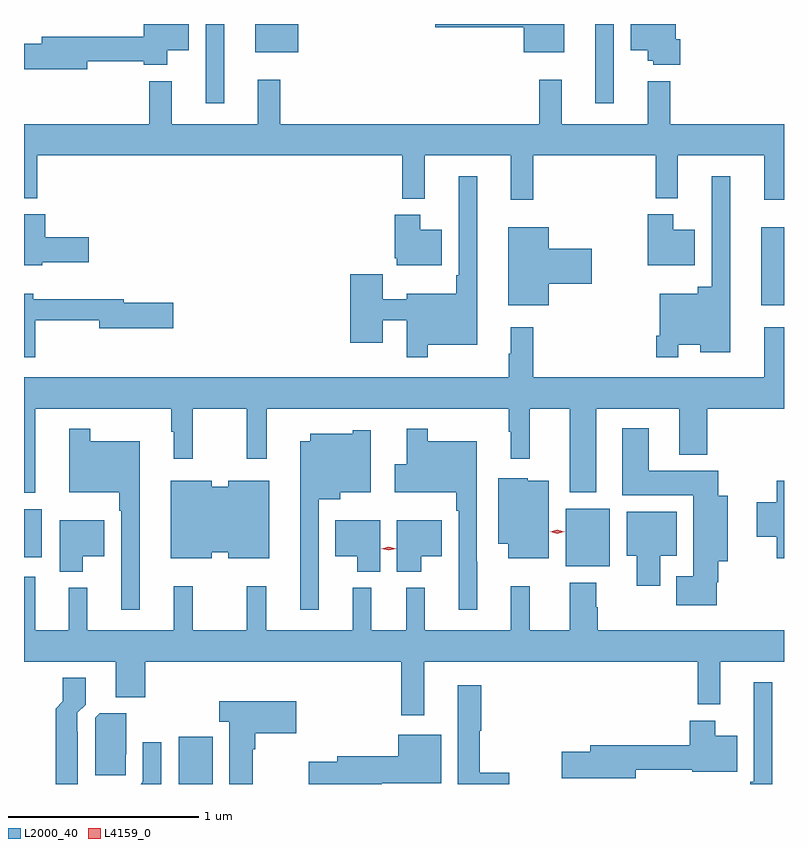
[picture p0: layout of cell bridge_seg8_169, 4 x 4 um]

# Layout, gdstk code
import gdstk
lib = gdstk.Library(unit=1e-6, precision=1e-09)
def R(c, l, rs):  # rectangles x0, y0, x1, y1
    for r in rs: c.add(gdstk.rectangle(r[:2], r[2:], *l))
def P(c, l, *ps):  # polygons
    for p in ps: c.add(gdstk.Polygon(p, *l))
L2000_40 = (2000, 40)
L4159_0 = (4159, 0)

bridge_seg8_169 = lib.new_cell('bridge_seg8_169')
R(bridge_seg8_169, L2000_40, [(544.493,1090.548,544.672,1090.798), (546.53,1091.693,546.763,1091.998), (543.679,1091.741,543.772,1091.995), (547.559,1093.067,547.679,1093.477), (544.635,1094.13,544.732,1094.548), (546.686,1094.13,546.783,1094.548), (544.895,1094.399,545.122,1094.548)])
P(bridge_seg8_169, L2000_40, [(546.523,1094.548),(545.844,1094.548),(545.844,1094.531),(546.308,1094.531),(546.308,1094.399),(546.523,1094.399)],
  [(544.012,1094.352),(544.31,1094.352),(544.31,1094.333),(544.432,1094.333),(544.432,1094.411),(544.546,1094.411),(544.546,1094.548),(544.31,1094.548),(544.31,1094.48),(543.773,1094.48),(543.773,1094.444),(543.679,1094.444),(543.679,1094.309),(544.012,1094.309)],
  [(547.133,1094.469),(547.108,1094.469),(547.108,1094.548),(546.872,1094.548),(546.872,1094.411),(546.962,1094.411),(546.962,1094.355),(546.99,1094.355),(546.99,1094.333),(547.133,1094.333)],
  [(546.359,1093.856),(547.003,1093.856),(547.003,1093.631),(547.121,1093.631),(547.121,1093.856),(547.574,1093.856),(547.574,1093.623),(547.679,1093.623),(547.679,1094.02),(547.079,1094.02),(547.079,1094.248),(546.962,1094.248),(546.962,1094.02),(546.509,1094.02),(546.509,1094.254),(546.391,1094.254),(546.391,1094.02),(545.027,1094.02),(545.027,1094.254),(544.91,1094.254),(544.91,1094.02),(544.457,1094.02),(544.457,1094.248),(544.339,1094.248),(544.339,1094.02),(543.679,1094.02),(543.679,1093.631),(543.749,1093.631),(543.749,1093.856),(545.671,1093.856),(545.671,1093.628),(545.789,1093.628),(545.789,1093.856),(546.242,1093.856),(546.242,1093.623),(546.359,1093.623)],
  [(547.122,1092.86),(547.238,1092.86),(547.238,1092.821),(547.396,1092.821),(547.396,1093.747),(547.299,1093.747),(547.299,1093.165),(547.226,1093.165),(547.226,1093.129),(547.026,1093.129),(547.026,1092.907),(547.006,1092.907),(547.006,1092.795),(547.122,1092.795)],
  [(545.803,1092.86),(546.064,1092.86),(546.064,1093.747),(545.967,1093.747),(545.967,1093.225),(545.955,1093.225),(545.955,1093.129),(545.693,1093.129),(545.693,1093.099),(545.566,1093.099),(545.566,1093.231),(545.396,1093.231),(545.396,1092.87),(545.566,1092.87),(545.566,1092.99),(545.694,1092.99),(545.694,1092.795),(545.803,1092.795)],
  [(547.21,1093.465),(547.096,1093.465),(547.096,1093.546),(546.962,1093.546),(546.962,1093.277),(547.21,1093.277)],
  [(543.774,1093.295),(544.021,1093.295),(544.021,1093.425),(543.791,1093.425),(543.791,1093.546),(543.679,1093.546),(543.679,1093.277),(543.774,1093.277)],
  [(545.878,1093.465),(545.764,1093.465),(545.764,1093.543),(545.63,1093.543),(545.63,1093.314),(545.642,1093.314),(545.642,1093.277),(545.878,1093.277)],
  [(546.442,1093.181),(546.667,1093.181),(546.667,1093.364),(546.442,1093.364),(546.442,1093.477),(546.227,1093.477),(546.227,1093.067),(546.442,1093.067)],
  [(543.739,1092.99),(544.076,1092.99),(544.076,1092.947),(544.465,1092.947),(544.465,1093.082),(544.204,1093.082),(544.204,1093.1),(543.727,1093.1),(543.727,1093.129),(543.679,1093.129),(543.679,1092.795),(543.739,1092.795)],
  [(543.739,1092.524),(544.455,1092.524),(544.455,1092.401),(544.466,1092.401),(544.466,1092.261),(544.568,1092.261),(544.568,1092.524),(544.852,1092.524),(544.852,1092.261),(544.956,1092.261),(544.956,1092.524),(546.231,1092.524),(546.231,1092.401),(546.242,1092.401),(546.242,1092.261),(546.341,1092.261),(546.341,1092.524),(546.551,1092.524),(546.551,1092.083),(546.691,1092.083),(546.691,1092.524),(547.127,1092.524),(547.127,1092.281),(547.275,1092.281),(547.275,1092.524),(547.679,1092.524),(547.679,1092.952),(547.574,1092.952),(547.574,1092.688),(546.359,1092.688),(546.359,1092.952),(546.242,1092.952),(546.242,1092.812),(546.231,1092.812),(546.231,1092.688),(543.679,1092.688),(543.679,1092.08),(543.739,1092.08)],
  [(547.324,1091.609),(547.332,1091.609),(547.332,1091.72),(547.384,1091.72),(547.384,1092.064),(547.332,1092.064),(547.332,1092.196),(546.967,1092.196),(546.967,1092.421),(546.827,1092.421),(546.827,1092.068),(547.202,1092.068),(547.202,1091.641),(547.112,1091.641),(547.112,1091.489),(547.324,1091.489)],
  [(544.288,1092.352),(544.027,1092.352),(544.027,1092.418),(543.918,1092.418),(543.918,1092.083),(544.179,1092.083),(544.179,1091.987),(544.191,1091.987),(544.191,1091.466),(544.288,1091.466)],
  [(546.064,1091.717),(546.063,1091.717),(546.063,1092.352),(545.803,1092.352),(545.803,1092.418),(545.693,1092.418),(545.693,1092.231),(545.63,1092.231),(545.63,1092.083),(545.955,1092.083),(545.955,1091.987),(545.967,1091.987),(545.967,1091.466),(546.064,1091.466)],
  [(545.229,1092.047),(545.344,1092.047),(545.344,1092.083),(545.503,1092.083),(545.503,1092.409),(545.409,1092.409),(545.409,1092.391),(545.186,1092.391),(545.186,1092.352),(545.132,1092.352),(545.132,1091.466),(545.229,1091.466)],
  [(546.442,1092.145),(546.33,1092.145),(546.33,1092.157),(546.176,1092.157),(546.176,1091.813),(546.227,1091.813),(546.227,1091.735),(546.442,1091.735)],
  [(547.679,1092.145),(547.64,1092.145),(547.64,1092.032),(547.535,1092.032),(547.535,1091.849),(547.64,1091.849),(547.64,1091.735),(547.679,1091.735)],
  [(544.666,1091.768),(544.754,1091.768),(544.754,1091.735),(544.969,1091.735),(544.969,1092.145),(544.754,1092.145),(544.754,1092.112),(544.666,1092.112),(544.666,1092.145),(544.451,1092.145),(544.451,1091.735),(544.666,1091.735)],
  [(547.027,1091.75),(547.114,1091.75),(547.114,1091.98),(546.851,1091.98),(546.851,1091.75),(546.905,1091.75),(546.905,1091.592),(547.027,1091.592)],
  [(543.988,1091.747),(544.102,1091.747),(544.102,1091.935),(543.866,1091.935),(543.866,1091.666),(543.988,1091.666)],
  [(545.554,1091.935),(545.318,1091.935),(545.318,1091.747),(545.432,1091.747),(545.432,1091.666),(545.554,1091.666)],
  [(545.77,1091.747),(545.878,1091.747),(545.878,1091.935),(545.642,1091.935),(545.642,1091.666),(545.77,1091.666)],
  [(545.664,1090.911),(545.785,1090.911),(545.785,1091.192),(547.225,1091.192),(547.225,1090.967),(547.343,1090.967),(547.343,1091.192),(547.679,1091.192),(547.679,1091.356),(546.699,1091.356),(546.699,1091.477),(546.691,1091.477),(546.691,1091.608),(546.551,1091.608),(546.551,1091.356),(546.341,1091.356),(546.341,1091.59),(546.242,1091.59),(546.242,1091.356),(545.789,1091.356),(545.789,1091.581),(545.69,1091.581),(545.69,1091.356),(545.507,1091.356),(545.507,1091.581),(545.408,1091.581),(545.408,1091.356),(544.955,1091.356),(544.955,1091.59),(544.852,1091.59),(544.852,1091.356),(544.568,1091.356),(544.568,1091.59),(544.466,1091.59),(544.466,1091.356),(544.013,1091.356),(544.013,1091.581),(543.914,1091.581),(543.914,1091.356),(543.739,1091.356),(543.739,1091.638),(543.679,1091.638),(543.679,1091.192),(544.163,1091.192),(544.163,1091.005),(544.316,1091.005),(544.316,1091.192),(545.664,1091.192)],
  [(543.963,1090.823),(543.96,1090.823),(543.96,1090.923),(544.003,1090.966),(544.003,1091.107),(543.883,1091.107),(543.883,1090.983),(543.845,1090.944),(543.845,1090.762),(543.847,1090.762),(543.847,1090.548),(543.963,1090.548)],
  [(547.618,1091.083),(547.521,1091.083),(547.521,1090.561),(547.501,1090.561),(547.501,1090.548),(547.618,1090.548)],
  [(546.232,1090.606),(546.077,1090.606),(546.077,1090.829),(546.085,1090.829),(546.085,1091.068),(545.963,1091.068),(545.963,1090.548),(546.232,1090.548)],
  [(544.882,1090.73),(544.895,1090.73),(544.895,1090.814),(545.113,1090.814),(545.113,1090.983),(544.707,1090.983),(544.707,1090.875),(544.76,1090.875),(544.76,1090.548),(544.882,1090.548)],
  [(544.215,1090.705),(544.216,1090.705),(544.216,1090.92),(544.077,1090.92),(544.053,1090.896),(544.053,1090.594),(544.215,1090.594)],
  [(546.898,1090.624),(547.196,1090.624),(547.196,1090.613),(547.432,1090.613),(547.432,1090.801),(547.318,1090.801),(547.318,1090.882),(547.184,1090.882),(547.184,1090.753),(546.659,1090.753),(546.659,1090.719),(546.51,1090.719),(546.51,1090.577),(546.898,1090.577)],
  [(545.562,1090.553),(545.875,1090.553),(545.875,1090.807),(545.648,1090.807),(545.648,1090.694),(545.327,1090.694),(545.327,1090.664),(545.178,1090.664),(545.178,1090.548),(545.562,1090.548)],
  [(544.401,1090.768),(544.305,1090.768),(544.305,1090.56),(544.293,1090.548),(544.401,1090.548)])
P(bridge_seg8_169, L4159_0, [(546.486,1091.866),(546.449,1091.875),(546.449,1091.876),(546.449,1091.876),(546.486,1091.886),(546.523,1091.876),(546.524,1091.876),(546.523,1091.875)],
  [(545.598,1091.777),(545.558,1091.786),(545.558,1091.786),(545.558,1091.787),(545.598,1091.797),(545.638,1091.787),(545.638,1091.787),(545.638,1091.787)])

lib.write_gds('bridge_seg8_169.gds')
